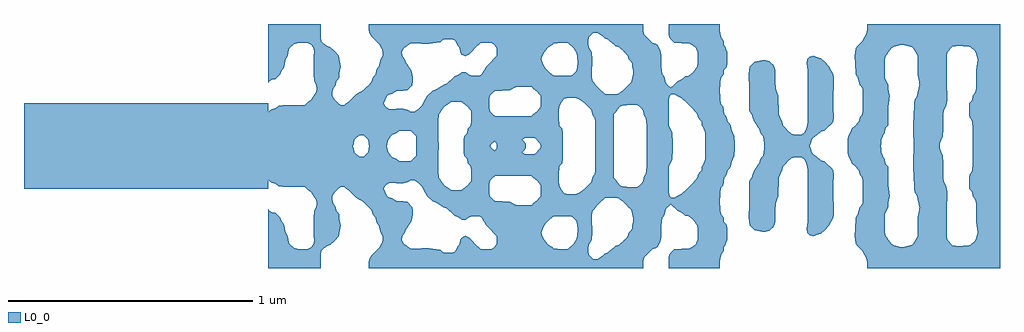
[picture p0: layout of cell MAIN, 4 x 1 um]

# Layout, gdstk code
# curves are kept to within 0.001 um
import gdstk
lib = gdstk.Library(unit=1e-6, precision=1e-09)
def R(c, l, rs):  # rectangles x0, y0, x1, y1
    for r in rs: c.add(gdstk.rectangle(r[:2], r[2:], *l))
def P(c, l, *ps):  # polygons
    for p in ps: c.add(gdstk.Polygon(p, *l))
L0_0 = (0, 0)

main_y = lib.new_cell('MAIN_Y')
R(main_y, L0_0, [(0,0,1,0.175)])
P(main_y, L0_0, [(3.22,0.001),(3.228,0.025),(3.235,0.033),(3.265,0.059),(3.28,0.063),(3.304,0.085),(3.317,0.1),(3.317,0.295),(3.307,0.31),(3.301,0.325),(3.28,0.347),(3.265,0.36),(3.235,0.37),(3.22,0.365),(3.211,0.355),(3.208,0.34),(3.212,0.31),(3.213,0.13),(3.211,0.085),(3.197,0.055),(3.19,0.048),(3.175,0.046),(3.16,0.047),(3.145,0.05),(3.13,0.063),(3.109,0.085),(3.107,0.1),(3.099,0.115),(3.094,0.13),(3.091,0.205),(3.08,0.235),(3.078,0.265),(3.078,0.31),(3.075,0.325),(3.063,0.34),(3.055,0.347),(3.04,0.351),(3.025,0.352),(2.995,0.346),(2.974,0.325),(2.97,0.295),(2.972,0.25),(2.973,0.145),(2.983,0.13),(2.993,0.1),(3.014,0.07),(3.018,0.055),(3.029,0.04),(3.032,0.025),(3.034,0)],
  [(4,0.5),(3.455,0.5),(3.455,0.475),(3.452,0.46),(3.436,0.43),(3.408,0.4),(3.405,0.37),(3.408,0.295),(3.417,0.28),(3.426,0.25),(3.437,0.235),(3.438,0.19),(3.436,0.13),(3.425,0.115),(3.422,0.1),(3.393,0.07),(3.387,0.055),(3.378,0.04),(3.377,0),(3.512,0),(3.513,0.025),(3.527,0.055),(3.529,0.07),(3.541,0.085),(3.543,0.115),(3.543,0.16),(3.548,0.205),(3.542,0.25),(3.528,0.28),(3.528,0.355),(3.532,0.37),(3.542,0.385),(3.555,0.4),(3.565,0.407),(3.595,0.414),(3.64,0.405),(3.655,0.385),(3.662,0.37),(3.664,0.28),(3.669,0.265),(3.671,0.25),(3.666,0.235),(3.661,0.205),(3.65,0.19),(3.648,0.175),(3.645,0.1),(3.646,0),(3.753,0),(3.754,0.01),(3.766,0.04),(3.768,0.07),(3.769,0.145),(3.778,0.16),(3.782,0.175),(3.782,0.37),(3.784,0.385),(3.805,0.407),(3.835,0.411),(3.88,0.405),(3.901,0.385),(3.908,0.355),(3.903,0.31),(3.902,0.235),(3.899,0.22),(3.888,0.205),(3.886,0.19),(3.874,0.175),(3.873,0.16),(3.873,0.13),(3.877,0.115),(3.88,0.112),(3.886,0.1),(3.888,0.07),(3.888,0),(4,0)],
  [(1.3,0.168),(1.285,0.177),(1.263,0.205),(1.263,0.22),(1.267,0.235),(1.277,0.25),(1.279,0.265),(1.292,0.28),(1.295,0.31),(1.299,0.325),(1.293,0.355),(1.289,0.37),(1.277,0.385),(1.255,0.404),(1.24,0.41),(1.219,0.43),(1.217,0.445),(1.217,0.5),(1,0.5),(1,0.26),(1.015,0.271),(1.03,0.274),(1.051,0.295),(1.056,0.31),(1.067,0.325),(1.068,0.34),(1.072,0.355),(1.081,0.37),(1.082,0.385),(1.087,0.4),(1.09,0.403),(1.105,0.416),(1.12,0.422),(1.165,0.422),(1.177,0.415),(1.188,0.4),(1.189,0.385),(1.187,0.295),(1.189,0.265),(1.197,0.25),(1.2,0.235),(1.197,0.22),(1.18,0.193),(1.15,0.168),(1.12,0.166),(1.06,0.167),(1.045,0.165),(1.03,0.154),(1.015,0.151),(1,0.139),(1,0),(1.348,0),(1.353,0.025),(1.375,0.045),(1.39,0.045),(1.405,0.032),(1.411,0.025),(1.414,0),(1.487,0),(1.488,0.01),(1.493,0.025),(1.503,0.04),(1.51,0.047),(1.525,0.052),(1.54,0.062),(1.55,0.062),(1.55,0.152),(1.495,0.152),(1.482,0.16),(1.474,0.175),(1.489,0.205),(1.495,0.211),(1.51,0.215),(1.525,0.225),(1.55,0.227),(1.55,0.37),(1.548,0.385),(1.55,0.389),(1.55,0.5),(1.412,0.5),(1.412,0.475),(1.416,0.46),(1.428,0.445),(1.457,0.415),(1.466,0.4),(1.471,0.385),(1.471,0.37),(1.462,0.355),(1.454,0.325),(1.443,0.31),(1.441,0.295),(1.429,0.28),(1.426,0.265),(1.413,0.25),(1.39,0.228),(1.375,0.221),(1.36,0.211),(1.339,0.19),(1.315,0.169)],
  [(1.894,0.325),(1.887,0.31),(1.87,0.29),(1.855,0.287),(1.84,0.287),(1.825,0.292),(1.81,0.302),(1.795,0.302),(1.78,0.292),(1.765,0.285),(1.735,0.258),(1.72,0.252),(1.69,0.232),(1.675,0.227),(1.653,0.205),(1.643,0.19),(1.637,0.175),(1.626,0.16),(1.6,0.141),(1.585,0.141),(1.57,0.149),(1.55,0.152),(1.55,0.062),(1.585,0.062),(1.6,0.048),(1.607,0.04),(1.608,0),(1.699,0),(1.697,0.085),(1.699,0.13),(1.72,0.158),(1.75,0.181),(1.78,0.182),(1.795,0.179),(1.81,0.168),(1.832,0.145),(1.833,0.1),(1.831,0.085),(1.819,0.07),(1.817,0.055),(1.805,0.04),(1.802,0),(1.911,0),(1.915,0.007),(1.93,0.019),(1.937,0.01),(1.937,0),(1.945,0),(1.945,0.122),(1.93,0.123),(1.915,0.136),(1.908,0.145),(1.906,0.16),(1.909,0.205),(1.93,0.225),(1.945,0.227),(1.945,0.5),(1.55,0.5),(1.55,0.389),(1.556,0.4),(1.585,0.421),(1.6,0.422),(1.645,0.419),(1.69,0.423),(1.705,0.426),(1.72,0.437),(1.75,0.438),(1.765,0.434),(1.769,0.43),(1.775,0.415),(1.785,0.4),(1.788,0.385),(1.795,0.375),(1.81,0.367),(1.825,0.377),(1.87,0.422),(1.915,0.423),(1.927,0.415),(1.938,0.4),(1.937,0.37)],
  [(1.555,0.227),(1.57,0.229),(1.591,0.25),(1.593,0.28),(1.592,0.295),(1.587,0.31),(1.566,0.34),(1.561,0.355),(1.55,0.37),(1.55,0.227)],
  [(2.253,0.4),(2.264,0.385),(2.267,0.37),(2.269,0.34),(2.266,0.31),(2.245,0.29),(2.23,0.287),(2.185,0.287),(2.17,0.289),(2.14,0.314),(2.132,0.325),(2.12,0.355),(1.945,0.355),(1.945,0.227),(1.99,0.228),(2.02,0.242),(2.08,0.242),(2.11,0.215),(2.117,0.205),(2.118,0.19),(2.117,0.16),(2.105,0.145),(2.08,0.123),(1.945,0.122),(1.945,0),(2.057,0),(2.057,0.01),(2.043,0.025),(2.05,0.032),(2.065,0.033),(2.095,0.031),(2.116,0.01),(2.117,0),(2.207,0),(2.208,0.04),(2.205,0.07),(2.194,0.085),(2.192,0.115),(2.193,0.16),(2.199,0.175),(2.211,0.19),(2.215,0.194),(2.23,0.198),(2.26,0.197),(2.275,0.192),(2.298,0.175),(2.326,0.145),(2.328,0.13),(2.339,0.115),(2.342,0.1),(2.342,0),(2.418,0),(2.418,0.13),(2.442,0.16),(2.455,0.168),(2.462,0.168),(2.462,0.235),(2.44,0.216),(2.425,0.212),(2.395,0.212),(2.38,0.214),(2.35,0.242),(2.331,0.265),(2.327,0.28),(2.326,0.295),(2.328,0.34),(2.326,0.385),(2.316,0.4),(2.313,0.415),(2.313,0.43),(2.315,0.445),(2.32,0.452),(2.335,0.465),(2.35,0.465),(2.38,0.441),(2.395,0.435),(2.425,0.409),(2.44,0.404),(2.462,0.384),(2.462,0.5),(1.945,0.5),(1.945,0.355),(2.12,0.355),(2.123,0.37),(2.14,0.395),(2.17,0.419),(2.185,0.422),(2.2,0.423),(2.23,0.421)],
  [(2.485,0.169),(2.515,0.167),(2.53,0.154),(2.537,0.145),(2.54,0.13),(2.548,0.115),(2.551,0.1),(2.552,0),(2.658,0),(2.657,0.055),(2.643,0.085),(2.642,0.16),(2.643,0.19),(2.647,0.205),(2.65,0.211),(2.665,0.213),(2.68,0.203),(2.695,0.196),(2.702,0.19),(2.725,0.169),(2.76,0.13),(2.764,0.115),(2.777,0.1),(2.778,0.085),(2.786,0.07),(2.791,0.055),(2.792,0),(2.913,0),(2.911,0.04),(2.898,0.07),(2.897,0.085),(2.885,0.1),(2.881,0.115),(2.869,0.13),(2.865,0.16),(2.856,0.175),(2.853,0.19),(2.853,0.265),(2.857,0.28),(2.867,0.295),(2.868,0.31),(2.88,0.325),(2.883,0.37),(2.882,0.385),(2.868,0.415),(2.867,0.43),(2.857,0.445),(2.853,0.46),(2.852,0.5),(2.642,0.5),(2.642,0.46),(2.644,0.445),(2.658,0.43),(2.665,0.424),(2.725,0.422),(2.737,0.415),(2.755,0.4),(2.762,0.385),(2.762,0.34),(2.76,0.325),(2.74,0.301),(2.725,0.288),(2.71,0.286),(2.695,0.273),(2.68,0.266),(2.65,0.239),(2.635,0.253),(2.628,0.265),(2.626,0.28),(2.615,0.295),(2.612,0.325),(2.61,0.385),(2.605,0.397),(2.595,0.415),(2.59,0.42),(2.575,0.424),(2.56,0.437),(2.539,0.46),(2.537,0.475),(2.537,0.5),(2.462,0.5),(2.462,0.384),(2.475,0.37),(2.479,0.355),(2.492,0.34),(2.493,0.325),(2.497,0.31),(2.497,0.295),(2.491,0.265),(2.462,0.235),(2.462,0.168)])

main = lib.new_cell('MAIN')
main.add(gdstk.Reference(main_y, (0,0)))
main.add(gdstk.Reference(main_y, (0,0), x_reflection=True))

lib.write_gds('MAIN.gds')
